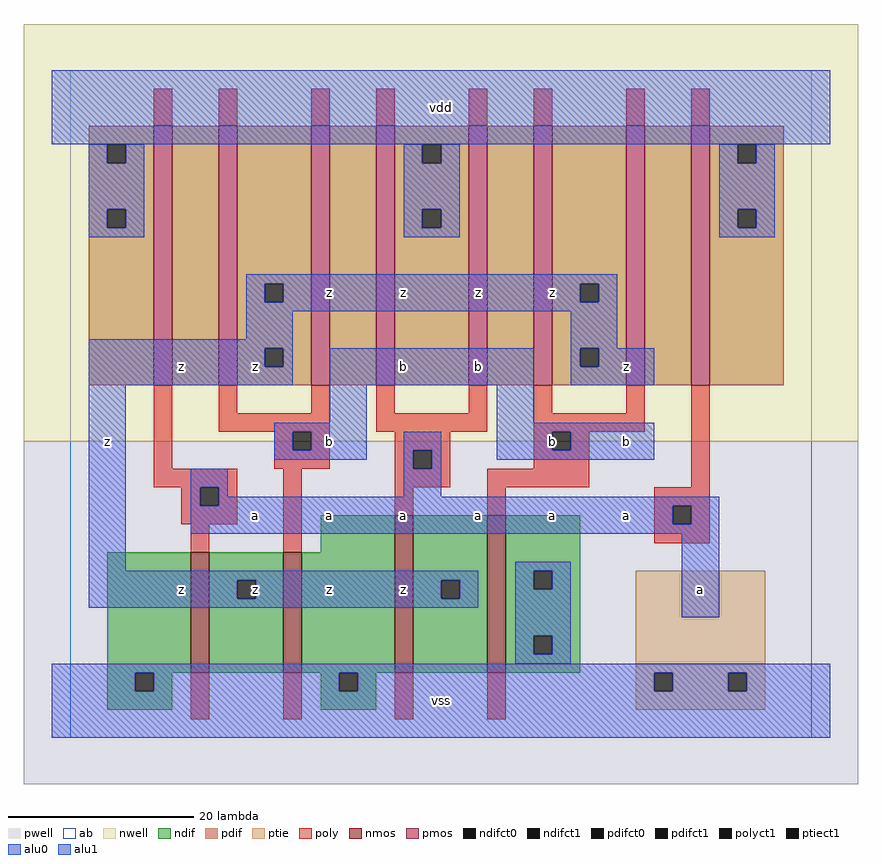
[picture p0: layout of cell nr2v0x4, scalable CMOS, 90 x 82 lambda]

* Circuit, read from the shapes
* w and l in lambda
.subckt nr2v0x4 a b vdd vss z
M1 z a vss vss nfet w=13 l=2
M2 vss b z vss nfet w=13 l=2
M3 z a vss vss nfet w=17 l=2
M4 vss b z vss nfet w=17 l=2
M5 n1 a vdd n2 pfet w=28 l=2
M6 z b n1 n2 pfet w=28 l=2
M7 n3 b z n2 pfet w=28 l=2
M8 vdd a n3 n2 pfet w=28 l=2
M9 n4 a vdd n2 pfet w=28 l=2
M10 z b n4 n2 pfet w=28 l=2
M11 n5 b z n2 pfet w=28 l=2
M12 vdd a n5 n2 pfet w=28 l=2
.ends

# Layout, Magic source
magic
tech scmos
<< ab >>
rect 0 0 80 72
<< nwell >>
rect -5 32 85 77
<< pwell >>
rect -5 -5 85 32
<< poly >>
rect 9 66 11 70
rect 16 66 18 70
rect 26 66 28 70
rect 33 66 35 70
rect 43 66 45 70
rect 50 66 52 70
rect 60 66 62 70
rect 67 66 69 70
rect 9 29 11 38
rect 16 35 18 38
rect 26 35 28 38
rect 16 33 28 35
rect 33 35 35 38
rect 43 35 45 38
rect 33 33 45 35
rect 50 35 52 38
rect 60 35 62 38
rect 50 33 62 35
rect 22 31 24 33
rect 26 31 28 33
rect 22 29 28 31
rect 35 31 41 33
rect 35 29 37 31
rect 39 29 41 31
rect 50 31 52 33
rect 54 31 56 33
rect 50 29 56 31
rect 9 27 18 29
rect 12 25 14 27
rect 16 25 18 27
rect 12 23 18 25
rect 13 20 15 23
rect 23 20 25 29
rect 35 27 41 29
rect 45 27 56 29
rect 67 27 69 38
rect 35 24 37 27
rect 45 24 47 27
rect 63 25 69 27
rect 63 23 65 25
rect 67 23 69 25
rect 63 21 69 23
rect 13 2 15 7
rect 23 2 25 7
rect 35 2 37 7
rect 45 2 47 7
<< ndif >>
rect 27 20 35 24
rect 4 7 13 20
rect 15 17 23 20
rect 15 15 18 17
rect 20 15 23 17
rect 15 7 23 15
rect 25 7 35 20
rect 37 17 45 24
rect 37 15 40 17
rect 42 15 45 17
rect 37 7 45 15
rect 47 18 55 24
rect 47 16 50 18
rect 52 16 55 18
rect 47 11 55 16
rect 47 9 50 11
rect 52 9 55 11
rect 47 7 55 9
rect 4 5 7 7
rect 9 5 11 7
rect 4 3 11 5
rect 27 5 29 7
rect 31 5 33 7
rect 27 3 33 5
<< pdif >>
rect 2 64 9 66
rect 2 62 4 64
rect 6 62 9 64
rect 2 57 9 62
rect 2 55 4 57
rect 6 55 9 57
rect 2 38 9 55
rect 11 38 16 66
rect 18 49 26 66
rect 18 47 21 49
rect 23 47 26 49
rect 18 42 26 47
rect 18 40 21 42
rect 23 40 26 42
rect 18 38 26 40
rect 28 38 33 66
rect 35 64 43 66
rect 35 62 38 64
rect 40 62 43 64
rect 35 57 43 62
rect 35 55 38 57
rect 40 55 43 57
rect 35 38 43 55
rect 45 38 50 66
rect 52 49 60 66
rect 52 47 55 49
rect 57 47 60 49
rect 52 42 60 47
rect 52 40 55 42
rect 57 40 60 42
rect 52 38 60 40
rect 62 38 67 66
rect 69 64 77 66
rect 69 62 72 64
rect 74 62 77 64
rect 69 57 77 62
rect 69 55 72 57
rect 74 55 77 57
rect 69 38 77 55
<< alu1 >>
rect -2 64 82 72
rect 19 49 59 50
rect 19 47 21 49
rect 23 47 55 49
rect 57 47 59 49
rect 19 46 59 47
rect 19 43 24 46
rect 2 42 24 43
rect 54 42 59 46
rect 2 40 21 42
rect 23 40 24 42
rect 2 38 24 40
rect 28 38 50 42
rect 54 40 55 42
rect 57 40 63 42
rect 54 38 63 40
rect 2 18 6 38
rect 28 34 32 38
rect 22 33 32 34
rect 46 34 50 38
rect 46 33 63 34
rect 22 31 24 33
rect 26 31 32 33
rect 22 30 32 31
rect 36 31 40 33
rect 36 29 37 31
rect 39 29 40 31
rect 46 31 52 33
rect 54 31 63 33
rect 46 30 63 31
rect 13 27 17 29
rect 13 25 14 27
rect 16 26 17 27
rect 36 26 40 29
rect 16 25 70 26
rect 13 23 65 25
rect 67 23 70 25
rect 13 22 70 23
rect 2 17 44 18
rect 2 15 18 17
rect 20 15 40 17
rect 42 15 44 17
rect 2 14 44 15
rect 66 13 70 22
rect -2 7 82 8
rect -2 5 7 7
rect 9 5 29 7
rect 31 5 63 7
rect 65 5 71 7
rect 73 5 82 7
rect -2 0 82 5
<< ptie >>
rect 61 7 75 18
rect 61 5 63 7
rect 65 5 71 7
rect 73 5 75 7
rect 61 3 75 5
<< nmos >>
rect 13 7 15 20
rect 23 7 25 20
rect 35 7 37 24
rect 45 7 47 24
<< pmos >>
rect 9 38 11 66
rect 16 38 18 66
rect 26 38 28 66
rect 33 38 35 66
rect 43 38 45 66
rect 50 38 52 66
rect 60 38 62 66
rect 67 38 69 66
<< polyct1 >>
rect 24 31 26 33
rect 37 29 39 31
rect 52 31 54 33
rect 14 25 16 27
rect 65 23 67 25
<< ndifct0 >>
rect 50 16 52 18
rect 50 9 52 11
<< ndifct1 >>
rect 18 15 20 17
rect 40 15 42 17
rect 7 5 9 7
rect 29 5 31 7
<< ptiect1 >>
rect 63 5 65 7
rect 71 5 73 7
<< pdifct0 >>
rect 4 62 6 64
rect 4 55 6 57
rect 38 62 40 64
rect 38 55 40 57
rect 72 62 74 64
rect 72 55 74 57
<< pdifct1 >>
rect 21 47 23 49
rect 21 40 23 42
rect 55 47 57 49
rect 55 40 57 42
<< alu0 >>
rect 2 62 4 64
rect 6 62 8 64
rect 2 57 8 62
rect 2 55 4 57
rect 6 55 8 57
rect 2 54 8 55
rect 36 62 38 64
rect 40 62 42 64
rect 36 57 42 62
rect 36 55 38 57
rect 40 55 42 57
rect 36 54 42 55
rect 70 62 72 64
rect 74 62 76 64
rect 70 57 76 62
rect 70 55 72 57
rect 74 55 76 57
rect 70 54 76 55
rect 48 18 54 19
rect 48 16 50 18
rect 52 16 54 18
rect 48 11 54 16
rect 48 9 50 11
rect 52 9 54 11
rect 48 8 54 9
<< labels >>
rlabel alu1 4 32 4 32 6 z
rlabel alu1 20 16 20 16 6 z
rlabel alu1 28 16 28 16 6 z
rlabel alu1 12 16 12 16 6 z
rlabel alu1 20 24 20 24 6 a
rlabel alu1 28 24 28 24 6 a
rlabel alu1 28 32 28 32 6 b
rlabel alu1 12 40 12 40 6 z
rlabel alu1 20 40 20 40 6 z
rlabel alu1 28 48 28 48 6 z
rlabel alu1 40 4 40 4 6 vss
rlabel alu1 36 16 36 16 6 z
rlabel alu1 36 24 36 24 6 a
rlabel alu1 44 24 44 24 6 a
rlabel alu1 36 40 36 40 6 b
rlabel alu1 44 40 44 40 6 b
rlabel alu1 36 48 36 48 6 z
rlabel alu1 44 48 44 48 6 z
rlabel alu1 40 68 40 68 6 vdd
rlabel alu1 52 24 52 24 6 a
rlabel alu1 60 24 60 24 6 a
rlabel alu1 60 32 60 32 6 b
rlabel alu1 52 32 52 32 6 b
rlabel alu1 60 40 60 40 6 z
rlabel alu1 52 48 52 48 6 z
rlabel alu1 68 16 68 16 6 a
<< end >>
